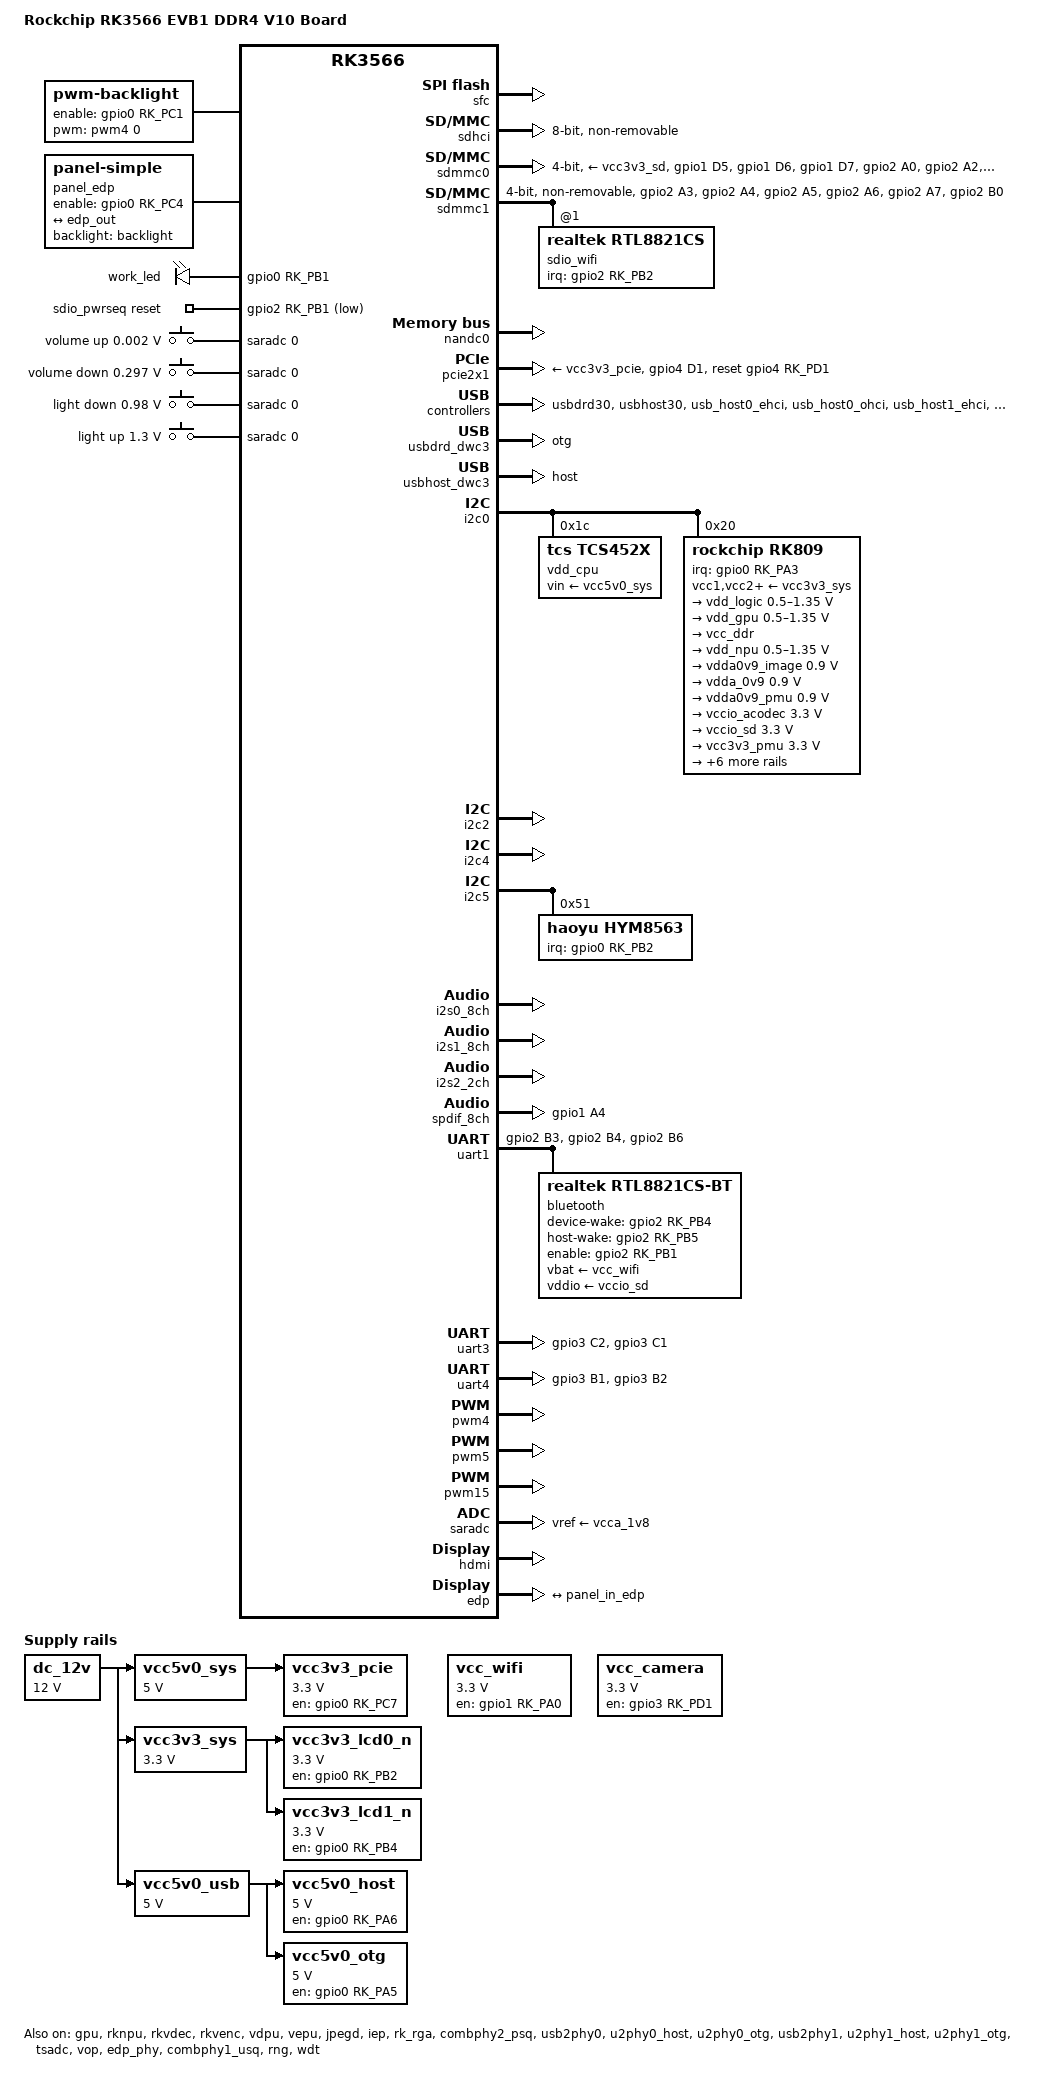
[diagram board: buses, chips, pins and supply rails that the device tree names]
// SPDX-License-Identifier: GPL-2.0-or-later OR MIT
/*
 * Device Tree for Rockchip RK3566 EVB1 DDR4 V10 Board
 * Extracted from Android and adapted for mainline Linux / Armbian
 *
 * Hardware:
 *   SoC: Rockchip RK3566
 *   PMIC: RK809 + TCS4525 (vdd_cpu)
 *   Memory: DDR4
 *   Storage: eMMC, SD card, SPI NAND
 *   Display: HDMI, eDP panel
 *   WiFi/BT: RTL8821CS (SDIO + UART)
 *   Ethernet: RTL8111H via PCIe
 *   Audio: RK809 Codec, HDMI audio, SPDIF
 *   USB: USB3 OTG, USB3 Host, 2x USB2.0 Host
 *   PCIe: 1x lane (occupied by RTL8111H)
 *   Camera: GC2053 + GC2093
 *   RTC: HYM8563
 */

/dts-v1/;
#include <dt-bindings/gpio/gpio.h>
#include <dt-bindings/pinctrl/rockchip.h>
#include <dt-bindings/input/input.h>
#include <dt-bindings/leds/common.h>
#include <dt-bindings/soc/rockchip,vop2.h>
#include "rk3566.dtsi"

/ {
	model = "Rockchip RK3566 EVB1 DDR4 V10 Board";
	compatible = "rockchip,rk3566-evb1-ddr4-v10", "rockchip,rk3566";

	aliases {
		ethernet1 = &gmac1;
		mmc0 = &sdmmc0;   /* SD card */
		mmc1 = &sdmmc1;   /* SDIO (WiFi) */
		mmc2 = &sdhci;    /* eMMC */
		mmc3 = &sdmmc2;   /* unused dwmmc */
		serial1 = &uart1;  /* Bluetooth */
		serial2 = &uart2;  /* Debug */
		serial3 = &uart3;
		serial4 = &uart4;
	};

	chosen: chosen {
		stdout-path = "serial2:1500000n8";
	};

	dc_12v: dc-12v {
		compatible = "regulator-fixed";
		regulator-name = "dc_12v";
		regulator-always-on;
		regulator-boot-on;
		regulator-min-microvolt = <12000000>;
		regulator-max-microvolt = <12000000>;
	};

	vcc5v0_sys: vcc5v0-sys {
		compatible = "regulator-fixed";
		regulator-name = "vcc5v0_sys";
		regulator-always-on;
		regulator-boot-on;
		regulator-min-microvolt = <5000000>;
		regulator-max-microvolt = <5000000>;
		vin-supply = <&dc_12v>;
	};

	vcc3v3_sys: vcc3v3-sys {
		compatible = "regulator-fixed";
		regulator-name = "vcc3v3_sys";
		regulator-always-on;
		regulator-boot-on;
		regulator-min-microvolt = <3300000>;
		regulator-max-microvolt = <3300000>;
		vin-supply = <&dc_12v>;
	};

	vcc5v0_usb: vcc5v0-usb {
		compatible = "regulator-fixed";
		regulator-name = "vcc5v0_usb";
		regulator-always-on;
		regulator-boot-on;
		regulator-min-microvolt = <5000000>;
		regulator-max-microvolt = <5000000>;
		vin-supply = <&dc_12v>;
	};

	vcc5v0_host: vcc5v0-host-regulator {
		compatible = "regulator-fixed";
		regulator-name = "vcc5v0_host";
		regulator-boot-on;
		regulator-always-on;
		regulator-min-microvolt = <5000000>;
		regulator-max-microvolt = <5000000>;
		enable-active-high;
		gpio = <&gpio0 RK_PA6 GPIO_ACTIVE_HIGH>;
		vin-supply = <&vcc5v0_usb>;
		pinctrl-names = "default";
		pinctrl-0 = <&vcc5v0_host_en>;
	};

	vcc5v0_otg: vcc5v0-otg-regulator {
		compatible = "regulator-fixed";
		regulator-name = "vcc5v0_otg";
		regulator-min-microvolt = <5000000>;
		regulator-max-microvolt = <5000000>;
		enable-active-high;
		gpio = <&gpio0 RK_PA5 GPIO_ACTIVE_HIGH>;
		vin-supply = <&vcc5v0_usb>;
		pinctrl-names = "default";
		pinctrl-0 = <&vcc5v0_otg_en>;
	};

	vcc3v3_pcie: vcc3v3-pcie-regulator {
		compatible = "regulator-fixed";
		regulator-name = "vcc3v3_pcie";
		regulator-min-microvolt = <3300000>;
		regulator-max-microvolt = <3300000>;
		enable-active-high;
		gpio = <&gpio0 RK_PC7 GPIO_ACTIVE_HIGH>;
		startup-delay-us = <100000>;
		vin-supply = <&vcc5v0_sys>;
		pinctrl-names = "default";
		pinctrl-0 = <&pcie_pwr_en>;
	};

	vcc3v3_lcd0_n: vcc3v3-lcd0-n {
		compatible = "regulator-fixed";
		regulator-name = "vcc3v3_lcd0_n";
		regulator-boot-on;
		regulator-min-microvolt = <3300000>;
		regulator-max-microvolt = <3300000>;
		enable-active-high;
		gpio = <&gpio0 RK_PB2 GPIO_ACTIVE_HIGH>;
		vin-supply = <&vcc3v3_sys>;
	};

	vcc3v3_lcd1_n: vcc3v3-lcd1-n {
		compatible = "regulator-fixed";
		regulator-name = "vcc3v3_lcd1_n";
		regulator-boot-on;
		regulator-min-microvolt = <3300000>;
		regulator-max-microvolt = <3300000>;
		enable-active-high;
		gpio = <&gpio0 RK_PB4 GPIO_ACTIVE_HIGH>;
		vin-supply = <&vcc3v3_sys>;
	};

	vcc_wifi: vcc-wifi-regulator {
		compatible = "regulator-fixed";
		gpio = <&gpio1 RK_PA0 GPIO_ACTIVE_HIGH>;
		pinctrl-names = "default";
		pinctrl-0 = <&wifi_pwr>;
		regulator-name = "vcc_wifi";
		enable-active-high;
		regulator-min-microvolt = <3300000>;
		regulator-max-microvolt = <3300000>;
		regulator-always-on;
		regulator-boot-on;
	};

	vcc_camera: vcc-camera-regulator {
		compatible = "regulator-fixed";
		gpio = <&gpio3 RK_PD1 GPIO_ACTIVE_HIGH>;
		pinctrl-names = "default";
		pinctrl-0 = <&camera_pwr>;
		regulator-name = "vcc_camera";
		enable-active-high;
		regulator-min-microvolt = <3300000>;
		regulator-max-microvolt = <3300000>;
		regulator-always-on;
		regulator-boot-on;
	};

	backlight: backlight {
		compatible = "pwm-backlight";
		pwms = <&pwm4 0 5000000 1>;
		brightness-levels = <0 20 20 21 21 22 22 23 23 24 24 25 25 26 26 27
			27 28 28 29 29 30 30 31 31 32 32 33 33 34 34 35
			35 36 36 37 37 38 38 39 40 41 42 43 44 45 46 47
			48 49 50 51 52 53 54 55 56 57 58 59 60 61 62 63
			64 65 66 67 68 69 70 71 72 73 74 75 76 77 78 79
			80 81 82 83 84 85 86 87 88 89 90 91 92 93 94 95
			96 97 98 99 100 101 102 103 104 105 106 107 108 109
			110 111 112 113 114 115 116 117 118 119 120 121 122
			123 124 125 126 127 128 129 130 131 132 133 134 135
			136 137 138 139 140 141 142 143 144 145 146 147 148
			149 150 151 152 153 154 155 156 157 158 159 160 161
			162 163 164 165 166 167 168 169 170 171 172 173 174
			175 176 177 178 179 180 181 182 183 184 185 186 187
			188 189 190 191 192 193 194 195 196 197 198 199 200
			201 202 203 204 205 206 207 208 209 210 211 212 213
			214 215 216 217 218 219 220 221 222 223 224 225 226
			227 228 229 230 231 232 233 234 235 236 237 238 239
			240 241 242 243 244 245 246 247 248 249 250 251 252
			253 254 255>;
		default-brightness-level = <200>;
		enable-gpios = <&gpio0 RK_PC1 GPIO_ACTIVE_HIGH>;
		pinctrl-names = "default";
		pinctrl-0 = <&edp_backlight_on>;
	};

	panel_edp: panel_edp {
		compatible = "panel-simple";
		backlight = <&backlight>;
		enable-gpios = <&gpio0 RK_PC4 GPIO_ACTIVE_HIGH>;
		pinctrl-names = "default";
		pinctrl-0 = <&edp_vdd_en_gpio>;
		enable-delay-ms = <220>;
		prepare-delay-ms = <220>;
		reset-delay-ms = <220>;
		init-delay-ms = <220>;
		bpc = <8>;
		width-mm = <344>;
		height-mm = <193>;

		port {
			panel_in_edp: endpoint {
				remote-endpoint = <&edp_out>;
			};
		};
	};

	leds: leds {
		compatible = "gpio-leds";

		work_led: work {
			gpios = <&gpio0 RK_PB1 GPIO_ACTIVE_HIGH>;
			linux,default-trigger = "timer";
		};
	};

	sdio_pwrseq: sdio-pwrseq {
		compatible = "mmc-pwrseq-simple";
		clocks = <&rk809 1>;
		clock-names = "ext_clock";
		pinctrl-names = "default";
		pinctrl-0 = <&wifi_enable_h>;
		post-power-on-delay-ms = <200>;
		reset-gpios = <&gpio2 RK_PB1 GPIO_ACTIVE_LOW>;
	};

	hdmi_sound: hdmi-sound {
		compatible = "simple-audio-card";
		simple-audio-card,format = "i2s";
		simple-audio-card,mclk-fs = <128>;
		simple-audio-card,name = "rockchip,hdmi";
		status = "okay";

		simple-audio-card,cpu {
			sound-dai = <&i2s0_8ch>;
		};

		simple-audio-card,codec {
			sound-dai = <&hdmi>;
		};
	};

	rk809_sound: rk809-sound {
		compatible = "simple-audio-card";
		simple-audio-card,format = "i2s";
		simple-audio-card,mclk-fs = <256>;
		simple-audio-card,name = "rockchip,rk809-codec";
		status = "okay";

		simple-audio-card,cpu {
			sound-dai = <&i2s1_8ch>;
		};

		simple-audio-card,codec {
			sound-dai = <&rk809_codec>;
		};
	};

	spdif_sound: spdif-sound {
		status = "disabled";
		compatible = "simple-audio-card";
		simple-audio-card,name = "ROCKCHIP,SPDIF";

		simple-audio-card,cpu {
			sound-dai = <&spdif_8ch>;
		};

		simple-audio-card,codec {
			sound-dai = <&spdif_out>;
		};
	};

	spdif_out: spdif-out {
		status = "disabled";
		compatible = "linux,spdif-dit";
		#sound-dai-cells = <0>;
	};

	adc_keys: adc-keys {
		compatible = "adc-keys";
		io-channels = <&saradc 0>;
		io-channel-names = "buttons";
		keyup-threshold-microvolt = <1800000>;
		poll-interval = <100>;

		vol-up-key {
			label = "volume up";
			linux,code = <KEY_VOLUMEUP>;
			press-threshold-microvolt = <1750>;
		};

		vol-down-key {
			label = "volume down";
			linux,code = <KEY_VOLUMEDOWN>;
			press-threshold-microvolt = <297500>;
		};

		light-down-key {
			label = "light down";
			linux,code = <KEY_BRIGHTNESSDOWN>;
			press-threshold-microvolt = <980000>;
		};

		light-up-key {
			label = "light up";
			linux,code = <KEY_BRIGHTNESSUP>;
			press-threshold-microvolt = <1300000>;
		};
	};
};

&cpu0 {
	cpu-supply = <&vdd_cpu>;
};

&cpu1 {
	cpu-supply = <&vdd_cpu>;
};

&cpu2 {
	cpu-supply = <&vdd_cpu>;
};

&cpu3 {
	cpu-supply = <&vdd_cpu>;
};

&gmac1 {
	status = "disabled";
};

&gpu {
	mali-supply = <&vdd_gpu>;
	status = "okay";
};

&rknpu {
	rknpu-supply = <&vdd_npu>;
	status = "okay";
};

&cpu0_opp_table {
	compatible = "operating-points-v2";
	opp-shared;

	opp-408000000 {
		opp-hz = /bits/ 64 <408000000>;
		opp-microvolt = <900000 900000 1150000>;
		clock-latency-ns = <40000>;
	};

	opp-600000000 {
		opp-hz = /bits/ 64 <600000000>;
		opp-microvolt = <900000 900000 1150000>;
	};

	opp-816000000 {
		opp-hz = /bits/ 64 <816000000>;
		opp-microvolt = <900000 900000 1150000>;
	};

	opp-1104000000 {
		opp-hz = /bits/ 64 <1104000000>;
		opp-microvolt = <900000 900000 1150000>;
	};

	opp-1416000000 {
		opp-hz = /bits/ 64 <1416000000>;
		opp-microvolt = <900000 900000 1150000>;
	};

	opp-1608000000 {
		opp-hz = /bits/ 64 <1608000000>;
		opp-microvolt = <975000 975000 1150000>;
	};

	opp-1800000000 {
		opp-hz = /bits/ 64 <1800000000>;
		opp-microvolt = <1050000 1050000 1150000>;
	};

	opp-1992000000 {
		opp-hz = /bits/ 64 <1992000000>;
		opp-microvolt = <1150000 1150000 1150000>;
	};
};

&rkvdec {
	vdec-supply = <&vdd_logic>;
	status = "okay";
};

&rkvenc {
	venc-supply = <&vdd_logic>;
	status = "okay";
};

&vdpu {
	status = "okay";
};

&vepu {
	status = "okay";
};

&jpegd {
	status = "okay";
};

&iep {
	status = "okay";
};

&rk_rga {
	status = "okay";
};

&sfc {
	status = "okay";
};

&sdhci {
	bus-width = <8>;
	mmc-hs200-1_8v;
	non-removable;
	max-frequency = <200000000>;
	status = "okay";
};

&sdmmc0 {
	max-frequency = <150000000>;
	supports-sd;
	bus-width = <4>;
	cap-mmc-highspeed;
	cap-sd-highspeed;
	disable-wp;
	sd-uhs-sdr104;
	vmmc-supply = <&vcc3v3_sd>;
	vqmmc-supply = <&vccio_sd>;
	pinctrl-names = "default";
	pinctrl-0 = <&sdmmc0_bus4 &sdmmc0_clk &sdmmc0_cmd &sdmmc0_det>;
	status = "okay";
};

&sdmmc1 {
	max-frequency = <50000000>;
	supports-sdio;
	bus-width = <4>;
	disable-wp;
	cap-sd-highspeed;
	cap-sdio-irq;
	keep-power-in-suspend;
	mmc-pwrseq = <&sdio_pwrseq>;
	non-removable;
	pinctrl-names = "default";
	pinctrl-0 = <&sdmmc1_bus4 &sdmmc1_cmd &sdmmc1_clk>;
	status = "okay";
	#address-cells = <1>;
	#size-cells = <0>;

	sdio_wifi: wifi@1 {
		compatible = "realtek,rtl8821cs";
		reg = <1>;
		interrupt-parent = <&gpio2>;
		interrupts = <RK_PB2 IRQ_TYPE_LEVEL_LOW>;
		pinctrl-names = "default";
		pinctrl-0 = <&wifi_host_wake_irq>;
		wakeup-source;
		keep-power-in-suspend;
	};
};

&nandc0 {
	status = "okay";
};

&pcie2x1 {
	pinctrl-names = "default";
	pinctrl-0 = <&evb_pcie20m1_pins>;
	reset-gpios = <&gpio4 RK_PD1 GPIO_ACTIVE_HIGH>;
	vpcie3v3-supply = <&vcc3v3_pcie>;
	status = "okay";
};

&combphy2_psq {
	status = "okay";
};

&usbdrd30 {
	status = "okay";
};

&usbdrd_dwc3 {
	dr_mode = "otg";
	maximum-speed = "high-speed";
	snps,dis_u2_susphy_quirk;
	status = "okay";
};

&usbhost30 {
	status = "okay";
};

&usbhost_dwc3 {
	dr_mode = "host";
	status = "okay";
};

&usb_host0_ehci {
	status = "okay";
};

&usb_host0_ohci {
	status = "okay";
};

&usb_host1_ehci {
	status = "okay";
};

&usb_host1_ohci {
	status = "okay";
};

&usb2phy0 {
	status = "okay";
};

&u2phy0_host {
	phy-supply = <&vcc5v0_host>;
	status = "okay";
};

&u2phy0_otg {
	vbus-supply = <&vcc5v0_otg>;
	status = "okay";
};

&usb2phy1 {
	status = "okay";
};

&u2phy1_host {
	phy-supply = <&vcc5v0_host>;
	status = "okay";
};

&u2phy1_otg {
	phy-supply = <&vcc5v0_host>;
	status = "okay";
};

&i2c0 {
	status = "okay";

	vdd_cpu: tcs4525@1c {
		compatible = "tcs,tcs452x";
		reg = <0x1c>;
		vin-supply = <&vcc5v0_sys>;
		regulator-compatible = "fan53555-reg";
		regulator-name = "vdd_cpu";
		regulator-min-microvolt = <712500>;
		regulator-max-microvolt = <1390000>;
		regulator-init-microvolt = <900000>;
		regulator-ramp-delay = <2300>;
		fcs,suspend-voltage-selector = <1>;
		regulator-boot-on;
		regulator-always-on;

		regulator-state-mem {
			regulator-off-in-suspend;
		};
	};

	rk809: pmic@20 {
		compatible = "rockchip,rk809";
		reg = <0x20>;
		interrupt-parent = <&gpio0>;
		interrupts = <RK_PA3 IRQ_TYPE_LEVEL_LOW>;
		pinctrl-names = "default", "pmic-sleep", "pmic-power-off", "pmic-reset";
		pinctrl-0 = <&pmic_int>;
		pinctrl-1 = <&soc_slppin_slp>, <&rk817_slppin_slp>;
		pinctrl-2 = <&soc_slppin_gpio>, <&rk817_slppin_pwrdn>;
		pinctrl-3 = <&soc_slppin_gpio>, <&rk817_slppin_rst>;
		rockchip,system-power-controller;
		wakeup-source;
		#clock-cells = <1>;
		clock-output-names = "rk808-clkout1", "rk808-clkout2";
		pmic-reset-func = <0>;
		not-save-power-en = <1>;

		vcc1-supply = <&vcc3v3_sys>;
		vcc2-supply = <&vcc3v3_sys>;
		vcc3-supply = <&vcc3v3_sys>;
		vcc4-supply = <&vcc3v3_sys>;
		vcc5-supply = <&vcc3v3_sys>;
		vcc6-supply = <&vcc3v3_sys>;
		vcc7-supply = <&vcc3v3_sys>;
		vcc8-supply = <&vcc3v3_sys>;
		vcc9-supply = <&vcc3v3_sys>;

		pwrkey {
			status = "okay";
		};

		pinctrl_rk8xx: pinctrl_rk8xx {
			gpio-controller;
			#gpio-cells = <2>;

			rk817_slppin_null: rk817_slppin_null {
				pins = "gpio_slp";
				function = "pin_fun0";
			};

			rk817_slppin_slp: rk817_slppin_slp {
				pins = "gpio_slp";
				function = "pin_fun1";
			};

			rk817_slppin_pwrdn: rk817_slppin_pwrdn {
				pins = "gpio_slp";
				function = "pin_fun2";
			};

			rk817_slppin_rst: rk817_slppin_rst {
				pins = "gpio_slp";
				function = "pin_fun3";
			};
		};

		regulators {
			vdd_logic: DCDC_REG1 {
				regulator-always-on;
				regulator-boot-on;
				regulator-min-microvolt = <500000>;
				regulator-max-microvolt = <1350000>;
				regulator-init-microvolt = <900000>;
				regulator-ramp-delay = <6001>;
				regulator-initial-mode = <0x2>;
				regulator-name = "vdd_logic";

				regulator-state-mem {
					regulator-off-in-suspend;
				};
			};

			vdd_gpu: DCDC_REG2 {
				regulator-always-on;
				regulator-boot-on;
				regulator-min-microvolt = <500000>;
				regulator-max-microvolt = <1350000>;
				regulator-init-microvolt = <900000>;
				regulator-ramp-delay = <6001>;
				regulator-initial-mode = <0x2>;
				regulator-name = "vdd_gpu";

				regulator-state-mem {
					regulator-off-in-suspend;
				};
			};

			vcc_ddr: DCDC_REG3 {
				regulator-always-on;
				regulator-boot-on;
				regulator-initial-mode = <0x2>;
				regulator-name = "vcc_ddr";

				regulator-state-mem {
					regulator-on-in-suspend;
				};
			};

			vdd_npu: DCDC_REG4 {
				regulator-always-on;
				regulator-boot-on;
				regulator-min-microvolt = <500000>;
				regulator-max-microvolt = <1350000>;
				regulator-init-microvolt = <900000>;
				regulator-ramp-delay = <6001>;
				regulator-initial-mode = <0x2>;
				regulator-name = "vdd_npu";

				regulator-state-mem {
					regulator-off-in-suspend;
				};
			};

			vdda0v9_image: LDO_REG1 {
				regulator-boot-on;
				regulator-always-on;
				regulator-min-microvolt = <900000>;
				regulator-max-microvolt = <900000>;
				regulator-name = "vdda0v9_image";

				regulator-state-mem {
					regulator-off-in-suspend;
				};
			};

			vdda_0v9: LDO_REG2 {
				regulator-always-on;
				regulator-boot-on;
				regulator-min-microvolt = <900000>;
				regulator-max-microvolt = <900000>;
				regulator-name = "vdda_0v9";

				regulator-state-mem {
					regulator-off-in-suspend;
				};
			};

			vdda0v9_pmu: LDO_REG3 {
				regulator-always-on;
				regulator-boot-on;
				regulator-min-microvolt = <900000>;
				regulator-max-microvolt = <900000>;
				regulator-name = "vdda0v9_pmu";

				regulator-state-mem {
					regulator-on-in-suspend;
					regulator-suspend-microvolt = <900000>;
				};
			};

			vccio_acodec: LDO_REG4 {
				regulator-always-on;
				regulator-boot-on;
				regulator-min-microvolt = <3300000>;
				regulator-max-microvolt = <3300000>;
				regulator-name = "vccio_acodec";

				regulator-state-mem {
					regulator-off-in-suspend;
				};
			};

			vccio_sd: LDO_REG5 {
				regulator-always-on;
				regulator-boot-on;
				regulator-min-microvolt = <3300000>;
				regulator-max-microvolt = <3300000>;
				regulator-name = "vccio_sd";

				regulator-state-mem {
					regulator-off-in-suspend;
				};
			};

			vcc3v3_pmu: LDO_REG6 {
				regulator-always-on;
				regulator-boot-on;
				regulator-min-microvolt = <3300000>;
				regulator-max-microvolt = <3300000>;
				regulator-name = "vcc3v3_pmu";

				regulator-state-mem {
					regulator-on-in-suspend;
					regulator-suspend-microvolt = <3300000>;
				};
			};

			vcca_1v8: LDO_REG7 {
				regulator-always-on;
				regulator-boot-on;
				regulator-min-microvolt = <1800000>;
				regulator-max-microvolt = <1800000>;
				regulator-name = "vcca_1v8";

				regulator-state-mem {
					regulator-off-in-suspend;
				};
			};

			vcca1v8_pmu: LDO_REG8 {
				regulator-always-on;
				regulator-boot-on;
				regulator-min-microvolt = <1800000>;
				regulator-max-microvolt = <1800000>;
				regulator-name = "vcca1v8_pmu";

				regulator-state-mem {
					regulator-on-in-suspend;
					regulator-suspend-microvolt = <1800000>;
				};
			};

			vcca1v8_image: LDO_REG9 {
				regulator-always-on;
				regulator-boot-on;
				regulator-min-microvolt = <1800000>;
				regulator-max-microvolt = <1800000>;
				regulator-name = "vcca1v8_image";

				regulator-state-mem {
					regulator-off-in-suspend;
				};
			};

			vcc_1v8: DCDC_REG5 {
				regulator-always-on;
				regulator-boot-on;
				regulator-min-microvolt = <1800000>;
				regulator-max-microvolt = <1800000>;
				regulator-name = "vcc_1v8";

				regulator-state-mem {
					regulator-off-in-suspend;
				};
			};

			vcc_3v3: SWITCH_REG1 {
				regulator-always-on;
				regulator-boot-on;
				regulator-name = "vcc_3v3";

				regulator-state-mem {
					regulator-off-in-suspend;
				};
			};

			vcc3v3_sd: SWITCH_REG2 {
				regulator-always-on;
				regulator-boot-on;
				regulator-name = "vcc3v3_sd";

				regulator-state-mem {
					regulator-off-in-suspend;
				};
			};
		};

		rk809_codec: codec {
			#sound-dai-cells = <0>;
			compatible = "rockchip,rk809-codec", "rockchip,rk817-codec";
			clocks = <&cru I2S1_MCLKOUT>;
			clock-names = "mclk";
			assigned-clocks = <&cru I2S1_MCLKOUT>, <&cru I2S1_MCLKOUT_TX>;
			assigned-clock-rates = <12288000>;
			assigned-clock-parents = <&cru I2S1_MCLKOUT>, <&cru I2S1_MCLKOUT>;
			pinctrl-names = "default";
			pinctrl-0 = <&i2s1m0_mclk>;
			hp-volume = <30>;
			spk-volume = <35>;
			capture-volume = <20>;
			mic-in-differential;
			status = "okay";
			spk-ctl-gpios = <&gpio3 RK_PA2 GPIO_ACTIVE_HIGH>;
			use-ext-amplifier;
		};
	};
};

&i2c1 {
	status = "disabled";

	gt1x: gt1x@14 {
		status = "disabled";
		compatible = "goodix,gt1x";
		reg = <0x14>;
		pinctrl-names = "default";
		pinctrl-0 = <&touch_gpio>;
		goodix,rst-gpio = <&gpio0 RK_PB6 GPIO_ACTIVE_HIGH>;
		goodix,irq-gpio = <&gpio0 RK_PB5 IRQ_TYPE_EDGE_FALLING>;
		power-supply = <&vcc3v3_lcd0_n>;
	};
};

&i2c2 {
	status = "okay";

};

&i2c4 {
	status = "okay";
};

&i2c5 {
	status = "okay";

	hym8563: hym8563@51 {
		compatible = "haoyu,hym8563";
		reg = <0x51>;
		pinctrl-names = "default";
		pinctrl-0 = <&rtc_int>;
		interrupt-parent = <&gpio0>;
		interrupts = <RK_PB2 IRQ_TYPE_LEVEL_LOW>;
	};

};

&i2s0_8ch {
	status = "okay";
};

&i2s1_8ch {
	pinctrl-names = "default";
	pinctrl-0 = <&i2s1m0_sclktx &i2s1m0_lrcktx &i2s1m0_sdi0 &i2s1m0_sdo0>;
	status = "okay";
};

&i2s2_2ch {
	pinctrl-names = "default";
	pinctrl-0 = <&i2s2m0_sclktx &i2s2m0_lrcktx &i2s2m0_sdi &i2s2m0_sdo>;
	status = "okay";
};

&i2s3_2ch {
	pinctrl-names = "default";
	pinctrl-0 = <&i2s3m0_sclk &i2s3m0_lrck &i2s3m0_sdi &i2s3m0_sdo>;
	status = "disabled";
};

&spdif_8ch {
	pinctrl-names = "default";
	pinctrl-0 = <&spdifm0_tx>;
	status = "okay";
};

&uart0 {
	pinctrl-names = "default";
	pinctrl-0 = <&uart0_xfer>;
	status = "disabled";
};

&uart1 {
	pinctrl-names = "default";
	pinctrl-0 = <&uart1m0_xfer &uart1m0_ctsn>;
	status = "okay";
	uart-has-rtscts;

	bluetooth {
		compatible = "realtek,rtl8821cs-bt";
		clocks = <&rk809 1>;
		clock-names = "lpo";
		device-wake-gpios = <&gpio2 RK_PB4 GPIO_ACTIVE_HIGH>;
		host-wake-gpios = <&gpio2 RK_PB5 GPIO_ACTIVE_HIGH>;
		enable-gpios = <&gpio2 RK_PB1 GPIO_ACTIVE_HIGH>;
		pinctrl-names = "default";
		pinctrl-0 = <&uart1_gpios>;
		vbat-supply = <&vcc_wifi>;
		vddio-supply = <&vccio_sd>;
	};
};

&uart2 {
	pinctrl-names = "default";
	pinctrl-0 = <&uart2m0_xfer>;
	status = "disabled";
};

&uart3 {
	pinctrl-names = "default";
	pinctrl-0 = <&uart3m1_xfer>;
	status = "okay";
};

&uart4 {
	pinctrl-names = "default";
	pinctrl-0 = <&uart4m1_xfer>;
	status = "okay";
};

&uart5 {
	pinctrl-names = "default";
	pinctrl-0 = <&uart5m0_xfer>;
	status = "disabled";
};

&uart6 {
	pinctrl-names = "default";
	pinctrl-0 = <&uart6m0_xfer>;
	status = "disabled";
};

&uart7 {
	pinctrl-names = "default";
	pinctrl-0 = <&uart7m0_xfer>;
	status = "disabled";
};

&uart8 {
	pinctrl-names = "default";
	pinctrl-0 = <&uart8m0_xfer>;
	status = "disabled";
};

&uart9 {
	pinctrl-names = "default";
	pinctrl-0 = <&uart9m0_xfer>;
	status = "disabled";
};

&can0 {
	assigned-clocks = <&cru CLK_CAN0>;
	assigned-clock-rates = <150000000>;
	pinctrl-names = "default";
	pinctrl-0 = <&can0m1_pins>;
	status = "disabled";
};

&can1 {
	assigned-clocks = <&cru CLK_CAN1>;
	assigned-clock-rates = <150000000>;
	pinctrl-names = "default";
	pinctrl-0 = <&can1m1_pins>;
	status = "disabled";
};

&can2 {
	assigned-clocks = <&cru CLK_CAN2>;
	assigned-clock-rates = <150000000>;
	pinctrl-names = "default";
	pinctrl-0 = <&can2m1_pins>;
	status = "disabled";
};

&spi0 {
	pinctrl-names = "default", "high_speed";
	pinctrl-0 = <&spi0m0_cs0 &spi0m0_cs1 &spi0m0_pins>;
	pinctrl-1 = <&spi0m0_cs0 &spi0m0_cs1 &spi0m0_pins_hs>;
	status = "disabled";
};

&spi1 {
	pinctrl-names = "default", "high_speed";
	pinctrl-0 = <&spi1m0_cs0 &spi1m0_cs1 &spi1m0_pins>;
	pinctrl-1 = <&spi1m0_cs0 &spi1m0_cs1 &spi1m0_pins_hs>;
	status = "disabled";
};

&spi2 {
	pinctrl-names = "default", "high_speed";
	pinctrl-0 = <&spi2m0_cs0 &spi2m0_cs1 &spi2m0_pins>;
	pinctrl-1 = <&spi2m0_cs0 &spi2m0_cs1 &spi2m0_pins_hs>;
	status = "disabled";
};

&spi3 {
	pinctrl-names = "default", "high_speed";
	pinctrl-0 = <&spi3m0_cs0 &spi3m0_cs1 &spi3m0_pins>;
	pinctrl-1 = <&spi3m0_cs0 &spi3m0_cs1 &spi3m0_pins_hs>;
	status = "disabled";
};

&pwm0 {
	pinctrl-names = "default";
	pinctrl-0 = <&pwm0m0_pins>;
	status = "disabled";
};

&pwm1 {
	pinctrl-names = "default";
	pinctrl-0 = <&pwm1m0_pins>;
	status = "disabled";
};

&pwm2 {
	pinctrl-names = "default";
	pinctrl-0 = <&pwm2m0_pins>;
	status = "disabled";
};

&pwm3 {
	pinctrl-names = "default";
	pinctrl-0 = <&pwm3_pins>;
	status = "disabled";
};

&pwm4 {
	pinctrl-names = "default";
	pinctrl-0 = <&pwm4_pins>;
	status = "okay";
};

&pwm5 {
	pinctrl-names = "default";
	pinctrl-0 = <&pwm5_pins>;
	status = "okay";
};

&pwm6 {
	pinctrl-names = "default";
	pinctrl-0 = <&pwm6_pins>;
	status = "disabled";
};

&pwm7 {
	pinctrl-names = "default";
	pinctrl-0 = <&pwm7_pins>;
	status = "disabled";
};

&pwm8 {
	pinctrl-names = "default";
	pinctrl-0 = <&pwm8m0_pins>;
	status = "disabled";
};

&pwm9 {
	pinctrl-names = "default";
	pinctrl-0 = <&pwm9m0_pins>;
	status = "disabled";
};

&pwm10 {
	pinctrl-names = "default";
	pinctrl-0 = <&pwm10m0_pins>;
	status = "disabled";
};

&pwm11 {
	pinctrl-names = "default";
	pinctrl-0 = <&pwm11m0_pins>;
	status = "disabled";
};

&pwm12 {
	pinctrl-names = "default";
	pinctrl-0 = <&pwm12m0_pins>;
	status = "disabled";
};

&pwm13 {
	pinctrl-names = "default";
	pinctrl-0 = <&pwm13m0_pins>;
	status = "disabled";
};

&pwm14 {
	pinctrl-names = "default";
	pinctrl-0 = <&pwm14m0_pins>;
	status = "disabled";
};

&pwm15 {
	pinctrl-names = "default";
	pinctrl-0 = <&pwm15m1_pins>;
	status = "okay";
};

&tsadc {
	status = "okay";
};

&saradc {
	status = "okay";
	vref-supply = <&vcca_1v8>;
};

&vop {
	assigned-clocks = <&cru DCLK_VOP0>, <&cru DCLK_VOP1>;
	assigned-clock-parents = <&pmucru PLL_HPLL>, <&cru PLL_VPLL>;
	status = "okay";
};

&vop_mmu {
	status = "okay";
};

&hdmi {
	status = "okay";
};

&edp {
	status = "okay";

	ports {
		port@1 {
			reg = <1>;

			edp_out: endpoint {
				remote-endpoint = <&panel_in_edp>;
			};
		};
	};
};

&dsi0 {
	status = "disabled";
};

&dsi1 {
	status = "disabled";
};

&edp_phy {
	status = "okay";
};

&pmu_io_domains {
	status = "okay";
	pmuio1-supply = <&vcc3v3_pmu>;
	pmuio2-supply = <&vcc3v3_pmu>;
	vccio1-supply = <&vccio_acodec>;
	vccio2-supply = <&vcc_1v8>;
	vccio3-supply = <&vccio_sd>;
	vccio4-supply = <&vcc_1v8>;
	vccio5-supply = <&vcc_3v3>;
	vccio6-supply = <&vcc_1v8>;
	vccio7-supply = <&vcc_3v3>;
};

&sata1 {
	status = "disabled";
};

&sata2 {
	status = "disabled";
};

&combphy1_usq {
	status = "okay";
};

&rng {
	status = "okay";
};

&wdt {
	status = "okay";
};

&pinctrl {
	audiopwm {
		audiopwm_loutn: audiopwm-loutn {
			rockchip,pins = <1 RK_PA1 6 &pcfg_pull_none>;
		};

		audiopwm_loutp: audiopwm-loutp {
			rockchip,pins = <1 RK_PA0 6 &pcfg_pull_none>;
		};

		audiopwm_routn: audiopwm-routn {
			rockchip,pins = <1 RK_PA7 4 &pcfg_pull_none>;
		};

		audiopwm_routp: audiopwm-routp {
			rockchip,pins = <1 RK_PA6 4 &pcfg_pull_none>;
		};
	};

	cam {
		cam_clkout0: cam-clkout0 {
			rockchip,pins = <4 RK_PA7 1 &pcfg_pull_none>;
		};

		cam_clkout1: cam-clkout1 {
			rockchip,pins = <4 RK_PB2 1 &pcfg_pull_none>;
		};

		camera_pwr: camera-pwr {
			rockchip,pins = <3 RK_PD1 0 &pcfg_pull_none>;
		};
	};

	can0 {
		can0m1_pins: can0m1-pins {
			rockchip,pins = <2 RK_PA2 4 &pcfg_pull_none>,
					<2 RK_PA1 4 &pcfg_pull_none>;
		};
	};

	can1 {
		can1m1_pins: can1m1-pins {
			rockchip,pins = <4 RK_PC4 3 &pcfg_pull_none>,
					<4 RK_PC5 3 &pcfg_pull_none>;
		};
	};

	can2 {
		can2m1_pins: can2m1-pins {
			rockchip,pins = <2 RK_PB1 4 &pcfg_pull_none>,
					<2 RK_PB2 4 &pcfg_pull_none>;
		};
	};

	clk32k {
		clk32k_out0: clk32k-out0 {
			rockchip,pins = <0 RK_PB0 2 &pcfg_pull_none>;
		};
	};

	hdmitx {
		hdmitxm0_cec: hdmitxm0-cec {
			rockchip,pins = <4 RK_PD3 1 &pcfg_pull_none>;
		};

		hdmitx_scl: hdmitx-scl {
			rockchip,pins = <4 RK_PD1 1 &pcfg_pull_none>;
		};

		hdmitx_sda: hdmitx-sda {
			rockchip,pins = <4 RK_PD2 1 &pcfg_pull_none>;
		};
	};

	i2c1 {
		/omit-if-no-ref/
		i2c1_xfer: i2c1-xfer {
			rockchip,pins = <0 RK_PB3 1 &pcfg_pull_none_smt>,
					<0 RK_PB4 1 &pcfg_pull_none_smt>;
		};
	};

	i2c2 {
		/omit-if-no-ref/
		i2c2m1_xfer: i2c2m1-xfer {
			rockchip,pins = <4 RK_PB5 1 &pcfg_pull_none_smt>,
					<4 RK_PB4 1 &pcfg_pull_none_smt>;
		};
	};

	i2c3 {
		/omit-if-no-ref/
		i2c3m0_xfer: i2c3m0-xfer {
			rockchip,pins = <1 RK_PA1 1 &pcfg_pull_none_smt>,
					<1 RK_PA0 1 &pcfg_pull_none_smt>;
		};
	};

	i2c4 {
		/omit-if-no-ref/
		i2c4m0_xfer: i2c4m0-xfer {
			rockchip,pins = <4 RK_PB3 1 &pcfg_pull_none_smt>,
					<4 10 1 &pcfg_pull_none_smt>;
		};
	};

	i2c5 {
		/omit-if-no-ref/
		i2c5m0_xfer: i2c5m0-xfer {
			rockchip,pins = <3 RK_PB3 4 &pcfg_pull_none_smt>,
					<3 RK_PB4 4 &pcfg_pull_none_smt>;
		};
	};

	lcdc {
		lcdc_ctl: lcdc-ctl {
			rockchip,pins = <3 RK_PA0 1 &pcfg_pull_none>,
					<2 RK_PD0 1 &pcfg_pull_none>,
					<2 RK_PD1 1 &pcfg_pull_none>,
					<2 RK_PD2 1 &pcfg_pull_none>,
					<2 RK_PD3 1 &pcfg_pull_none>,
					<2 RK_PD4 1 &pcfg_pull_none>,
					<2 RK_PD5 1 &pcfg_pull_none>,
					<2 RK_PD6 1 &pcfg_pull_none>,
					<2 RK_PD7 1 &pcfg_pull_none>,
					<3 RK_PA1 1 &pcfg_pull_none>,
					<3 RK_PA2 1 &pcfg_pull_none>,
					<3 RK_PA3 1 &pcfg_pull_none>,
					<3 RK_PA4 1 &pcfg_pull_none>,
					<3 RK_PA5 1 &pcfg_pull_none>,
					<3 RK_PA6 1 &pcfg_pull_none>,
					<3 RK_PA7 1 &pcfg_pull_none>,
					<3 RK_PB0 1 &pcfg_pull_none>,
					<3 RK_PB1 1 &pcfg_pull_none>,
					<3 RK_PB2 1 &pcfg_pull_none>,
					<3 RK_PB3 1 &pcfg_pull_none>,
					<3 RK_PB4 1 &pcfg_pull_none>,
					<3 RK_PB5 1 &pcfg_pull_none>,
					<3 RK_PB6 1 &pcfg_pull_none>,
					<3 RK_PB7 1 &pcfg_pull_none>,
					<3 RK_PC0 1 &pcfg_pull_none>,
					<3 RK_PC3 1 &pcfg_pull_none>,
					<3 RK_PC1 1 &pcfg_pull_none>,
					<3 RK_PC2 1 &pcfg_pull_none>;
		};
	};

	pmic {
		pmic_int: pmic_int {
			rockchip,pins = <0 RK_PA3 0 &pcfg_pull_up>;
		};

		soc_slppin_gpio: soc_slppin_gpio {
			rockchip,pins = <0 RK_PA2 0 &pcfg_output_low_pull_down>;
		};

		soc_slppin_slp: soc_slppin_slp {
			rockchip,pins = <0 RK_PA2 1 &pcfg_pull_up>;
		};

		soc_slppin_rst: soc_slppin_rst {
			rockchip,pins = <0 RK_PA2 2 &pcfg_pull_none>;
		};
	};

	scr {
		scr_pins: scr-pins {
			rockchip,pins = <1 RK_PA2 3 &pcfg_pull_none>,
					<1 RK_PA7 3 &pcfg_pull_up>,
					<1 RK_PA3 3 &pcfg_pull_up>,
					<1 RK_PA5 3 &pcfg_pull_none>;
		};
	};

	sdmmc0 {
		/omit-if-no-ref/
		sdmmc0_bus4: sdmmc0-bus4 {
			rockchip,pins = <1 RK_PD5 1 &pcfg_pull_up_drv_level_2>,
					<1 RK_PD6 1 &pcfg_pull_up_drv_level_2>,
					<1 RK_PD7 1 &pcfg_pull_up_drv_level_2>,
					<2 RK_PA0 1 &pcfg_pull_up_drv_level_2>;
		};

		/omit-if-no-ref/
		sdmmc0_clk: sdmmc0-clk {
			rockchip,pins = <2 RK_PA2 1 &pcfg_pull_up_drv_level_2>;
		};

		/omit-if-no-ref/
		sdmmc0_cmd: sdmmc0-cmd {
			rockchip,pins = <2 RK_PA1 1 &pcfg_pull_up_drv_level_2>;
		};

		/omit-if-no-ref/
		sdmmc0_det: sdmmc0-det {
			rockchip,pins = <0 RK_PA4 1 &pcfg_pull_up>;
		};
	};

	sdmmc1 {
		/omit-if-no-ref/
		sdmmc1_bus4: sdmmc1-bus4 {
			rockchip,pins = <2 RK_PA3 1 &pcfg_pull_up_drv_level_2>,
					<2 RK_PA4 1 &pcfg_pull_up_drv_level_2>,
					<2 RK_PA5 1 &pcfg_pull_up_drv_level_2>,
					<2 RK_PA6 1 &pcfg_pull_up_drv_level_2>;
		};

		/omit-if-no-ref/
		sdmmc1_clk: sdmmc1-clk {
			rockchip,pins = <2 RK_PB0 1 &pcfg_pull_up_drv_level_2>;
		};

		/omit-if-no-ref/
		sdmmc1_cmd: sdmmc1-cmd {
			rockchip,pins = <2 RK_PA7 1 &pcfg_pull_up_drv_level_2>;
		};
	};

	sdio-pwrseq {
		wifi_enable_h: wifi-enable-h {
			rockchip,pins = <2 RK_PB1 0 &pcfg_pull_none>;
		};
	};

	spdif {
		spdifm0_tx: spdifm0-tx {
			rockchip,pins = <1 RK_PA4 4 &pcfg_pull_none>;
		};
	};

	tsadc {
		tsadc_shutorg: tsadc-shutorg {
			rockchip,pins = <0 RK_PA1 2 &pcfg_pull_none>;
		};
	};

	uart0 {
		/omit-if-no-ref/
		uart0_xfer: uart0-xfer {
			rockchip,pins = <0 RK_PB2 3 &pcfg_pull_up>,
					<0 RK_PB3 3 &pcfg_pull_up>;
		};
	};

	uart1 {
		/omit-if-no-ref/
		uart1m0_xfer: uart1m0-xfer {
			rockchip,pins = <2 RK_PB3 2 &pcfg_pull_up>,
					<2 RK_PB4 2 &pcfg_pull_up>;
		};

		/omit-if-no-ref/
		uart1m0_ctsn: uart1m0-ctsn {
			rockchip,pins = <2 RK_PB6 2 &pcfg_pull_none>;
		};

		/omit-if-no-ref/
		uart1m0_rtsn: uart1m0-rtsn {
			rockchip,pins = <2 RK_PB5 2 &pcfg_pull_none>;
		};
	};

	uart2 {
		/omit-if-no-ref/
		uart2m0_xfer: uart2m0-xfer {
			rockchip,pins = <0 RK_PC0 1 &pcfg_pull_up>,
					<0 RK_PC1 1 &pcfg_pull_up>;
		};
	};

	uart3 {
		/omit-if-no-ref/
		uart3m1_xfer: uart3m1-xfer {
			rockchip,pins = <3 RK_PC2 4 &pcfg_pull_up>,
					<3 RK_PC1 4 &pcfg_pull_up>;
		};
	};

	uart4 {
		/omit-if-no-ref/
		uart4m1_xfer: uart4m1-xfer {
			rockchip,pins = <3 RK_PB1 4 &pcfg_pull_up>,
					<3 RK_PB2 4 &pcfg_pull_up>;
		};
	};

	uart5 {
		/omit-if-no-ref/
		uart5m0_xfer: uart5m0-xfer {
			rockchip,pins = <2 RK_PA1 3 &pcfg_pull_up>,
					<2 RK_PA2 3 &pcfg_pull_up>;
		};
	};

	uart6 {
		/omit-if-no-ref/
		uart6m0_xfer: uart6m0-xfer {
			rockchip,pins = <2 RK_PA3 3 &pcfg_pull_up>,
					<2 RK_PA4 3 &pcfg_pull_up>;
		};
	};

	uart7 {
		/omit-if-no-ref/
		uart7m0_xfer: uart7m0-xfer {
			rockchip,pins = <2 RK_PA5 3 &pcfg_pull_up>,
					<2 RK_PA6 3 &pcfg_pull_up>;
		};
	};

	uart8 {
		/omit-if-no-ref/
		uart8m0_xfer: uart8m0-xfer {
			rockchip,pins = <2 RK_PD6 2 &pcfg_pull_up>,
					<2 RK_PD5 3 &pcfg_pull_up>;
		};
	};

	uart9 {
		/omit-if-no-ref/
		uart9m0_xfer: uart9m0-xfer {
			rockchip,pins = <2 RK_PA7 3 &pcfg_pull_up>,
					<2 RK_PB0 3 &pcfg_pull_up>;
		};
	};

	usb {
		vcc5v0_host_en: vcc5v0-host-en {
			rockchip,pins = <0 RK_PA6 0 &pcfg_pull_none>;
		};

		vcc5v0_otg_en: vcc5v0-otg-en {
			rockchip,pins = <0 RK_PA5 0 &pcfg_pull_none>;
		};
	};

	wifi {
		wifi_pwr: wifi-pwr {
			rockchip,pins = <1 RK_PA0 0 &pcfg_pull_none>;
		};
	};

	wireless-wlan {
		wifi_host_wake_irq: wifi-host-wake-irq {
			rockchip,pins = <2 RK_PB2 0 &pcfg_pull_down>;
		};
	};

	wireless-bluetooth {
		uart1_gpios: uart1-gpios {
			rockchip,pins = <2 RK_PB5 0 &pcfg_pull_none>;
		};
	};

	headphone {
		hp_det: hp-det {
			rockchip,pins = <3 RK_PA1 0 &pcfg_pull_down>;
		};
	};

	lcd0 {
		lcd0_rst_gpio: lcd0-rst-gpio {
			rockchip,pins = <4 RK_PD5 0 &pcfg_pull_none>;
		};
	};

	lcd1 {
		lcd1_rst_gpio: lcd1-rst-gpio {
			rockchip,pins = <0 RK_PD4 0 &pcfg_pull_none>;
		};
	};

	pcie {
		pcie_pwr_en: pcie-pwr-en {
			rockchip,pins = <0 RK_PC7 0 &pcfg_pull_none>;
		};

		evb_pcie20m1_pins: pcie20m1-pins {
			rockchip,pins = <4 RK_PD1 0 &pcfg_pull_none>;
		};
	};

	edp {
		edp_backlight_on: edp-backlight-on {
			rockchip,pins = <0 RK_PC1 0 &pcfg_pull_none>;
		};

		edp_bk_pwm_gpio: edp-bk-pwm-gpio {
			rockchip,pins = <0 RK_PB5 0 &pcfg_pull_none>;
		};

		edp_vdd_en_gpio: edp-vdd-en-gpio {
			rockchip,pins = <0 RK_PC4 0 &pcfg_pull_none>;
		};
	};

	rtc {
		rtc_int: rtc-int {
			rockchip,pins = <0 RK_PB2 0 &pcfg_pull_up>;
		};
	};

	mcu-watchdog {
		feed_gpios: fees-gpios {
			rockchip,pins = <4 RK_PB1 0 &pcfg_pull_none>;
		};
	};

	touch {
		touch_gpio: touch-gpio {
			rockchip,pins = <0 RK_PB5 0 &pcfg_pull_up>,
					<0 RK_PB6 0 &pcfg_pull_none>;
		};
	};

	mxc6655xa {
		mxc6655xa_irq_gpio: mxc6655xa_irq_gpio {
			rockchip,pins = <3 RK_PC3 0 &pcfg_pull_none>;
		};
	};

	tr5511 {
		tr5511_pin: tr5511-pin {
			rockchip,pins = <3 RK_PA3 0 &pcfg_pull_none>;
		};
	};
};
